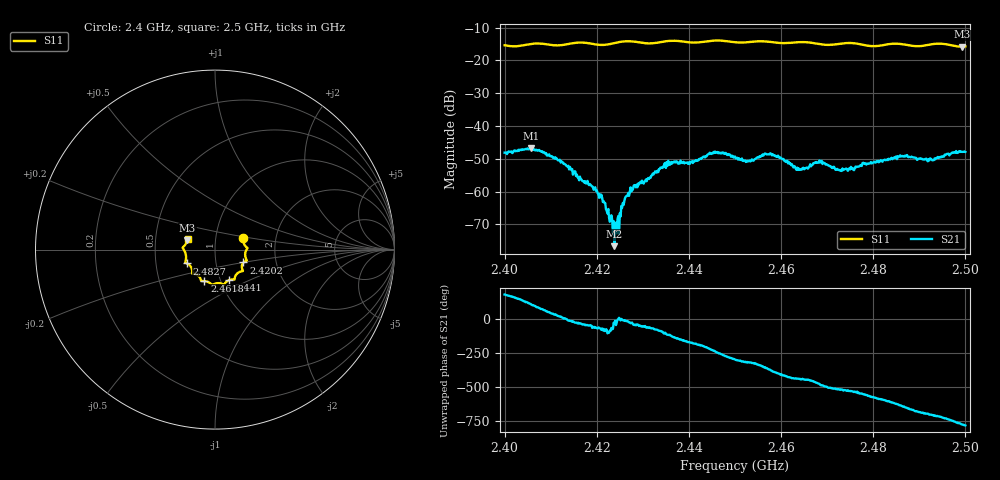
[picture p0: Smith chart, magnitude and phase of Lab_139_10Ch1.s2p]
# Hz S RI R 50
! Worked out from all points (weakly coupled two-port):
!   601 points, 2.4 GHz to 2.5 GHz, reference 50 ohm
!   highest |S21| = -46.79 dB at 2.4058 GHz (marker M1); lowest = -76.6 dB at 2.4238 GHz (marker M2)
!   lowest |S11| = -15.8 dB at 2.4993 GHz (marker M3), VSWR 1.39, Z = 36.5 + j3.84 ohm
!   |S11| at or under -10 dB: start of sweep to end of sweep
!   S12 and S22 are empty: the file has one direction only
!   S11 on the Smith chart (normalised r, x): 2.4 GHz: 1.36, +0.18; 2.4202 GHz: 1.36, -0.20; 2.441 GHz: 1.10, -0.39; 2.4618 GHz: 0.84, -0.30; 2.4827 GHz: 0.72, -0.11; 2.5 GHz: 0.73, +0.09
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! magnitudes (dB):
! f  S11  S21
! 2.4 GHz  -15.4  -48.1
! 2.4058 GHz  -14.9  -46.8
! 2.4115 GHz  -15.4  -50.3
! 2.4167 GHz  -14.5  -56.3
! 2.4202 GHz  -15.2  -60.4
! 2.4238 GHz  -14.7  -76.6
! 2.4243 GHz  -14.5  -72.8
! 2.4258 GHz  -14.2  -64.0
! 2.4268 GHz  -14.1  -60.4
! 2.4333 GHz  -14.5  -54.1
! 2.441 GHz  -14.6  -50.8
! 2.4457 GHz  -13.9  -47.8
! 2.45 GHz  -14.4  -49.3
! 2.4577 GHz  -14.3  -48.3
! 2.4618 GHz  -14.7  -51.4
! 2.4638 GHz  -14.4  -52.9
! 2.4667 GHz  -14.6  -51.9
! 2.473 GHz  -14.9  -53.4
! 2.4827 GHz  -15.2  -50.4
! 2.4833 GHz  -15.0  -50.0
! 2.4993 GHz  -15.8  -47.9
! 2.5 GHz  -15.7  -47.9
